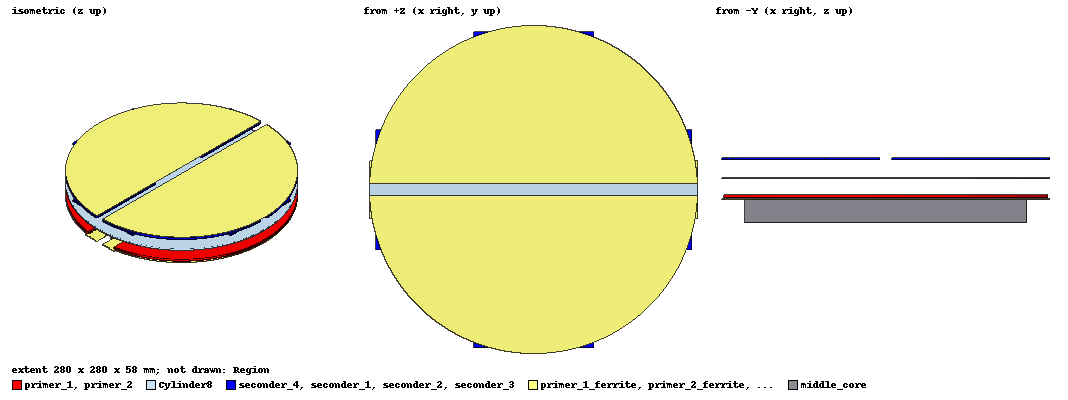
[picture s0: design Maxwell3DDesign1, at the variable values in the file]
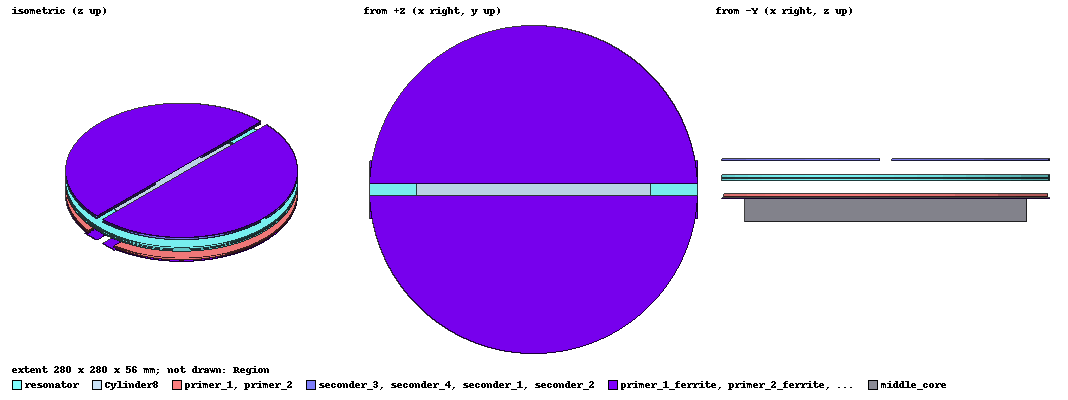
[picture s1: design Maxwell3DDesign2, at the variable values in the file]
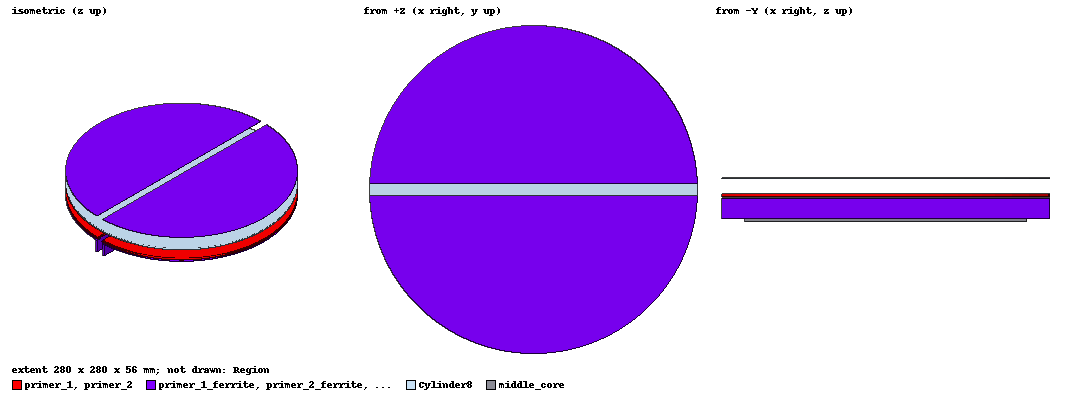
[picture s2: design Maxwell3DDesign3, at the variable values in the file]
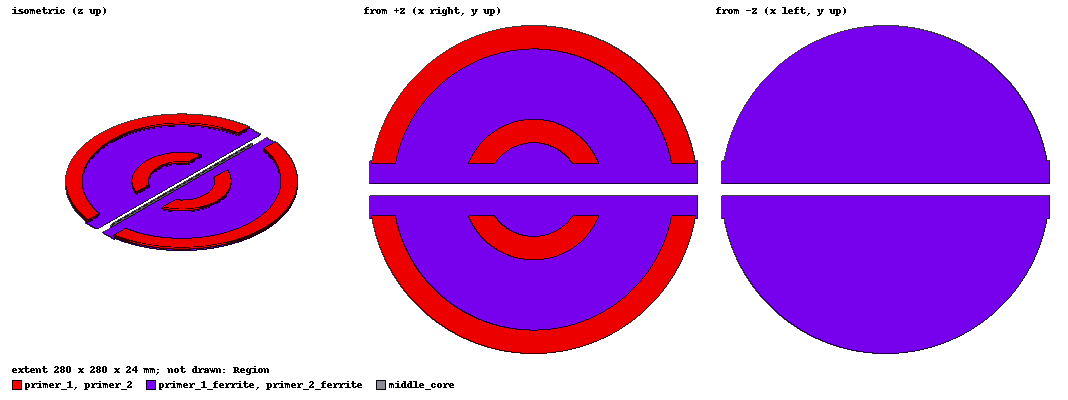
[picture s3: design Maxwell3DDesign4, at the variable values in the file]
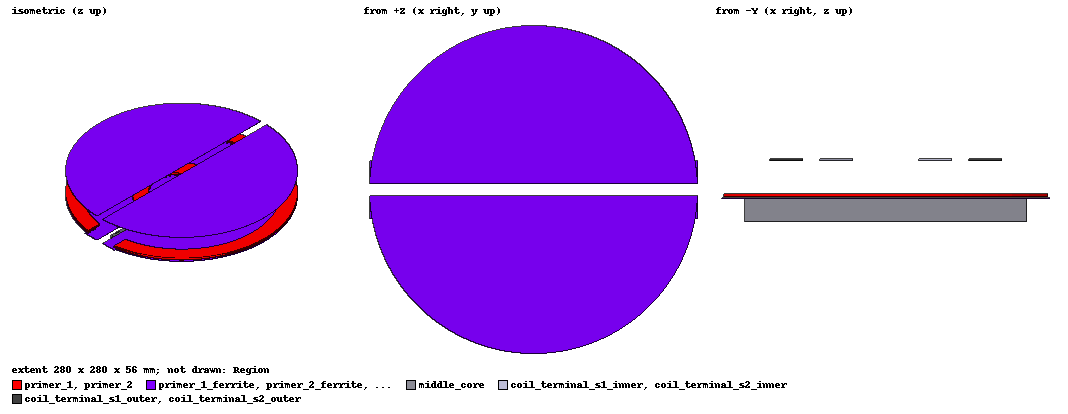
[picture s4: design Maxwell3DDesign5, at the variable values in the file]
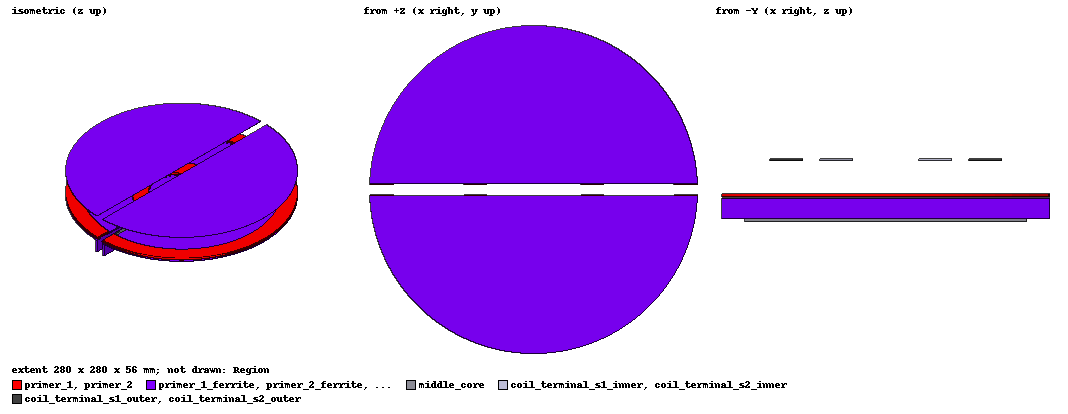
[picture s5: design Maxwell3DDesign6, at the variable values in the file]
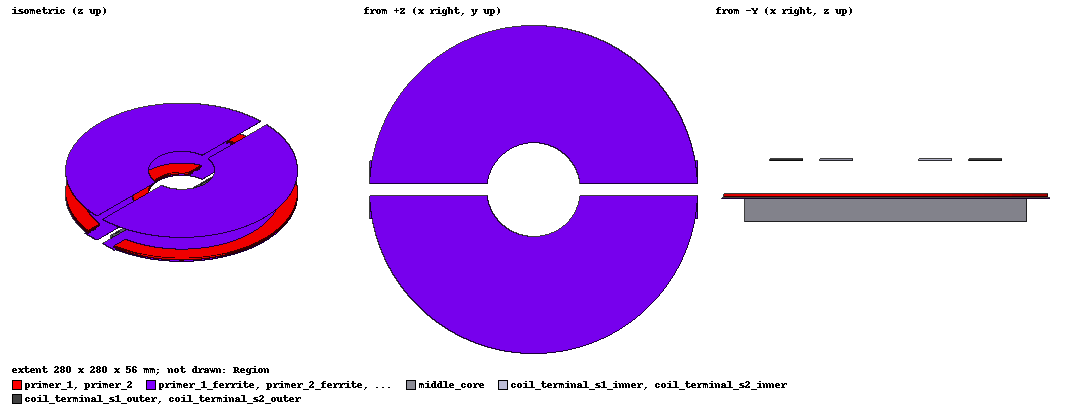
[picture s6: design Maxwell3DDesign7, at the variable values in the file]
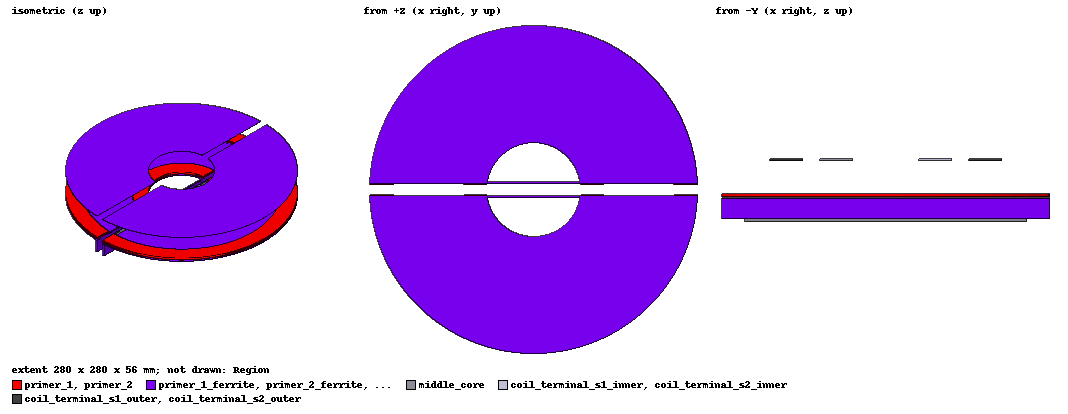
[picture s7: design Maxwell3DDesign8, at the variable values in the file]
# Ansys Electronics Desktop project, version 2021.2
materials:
  vacuum: permittivity=1
  ferrite: permittivity=12 permeability=1000 conductivity=0.01
  copper: permeability=0.999991 conductivity=58000000

design Maxwell3DDesign1 (Maxwell 3D, Magnetostatic, model units mm)
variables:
  ferrite_distance = distance_primer+3mm
  r_outer = 140mm
  ferrite_height = -0.5mm
  ferrite_gap = 2mm
  r_inner = 40mm
  conductor_height = 2mm
  conductor_number_primer = 10mm
  conductor_number_p = 13.2
  distance_primer = 2mm
  primer_box = 20mm
  fer2fer_distance = air_gap+5.5mm
  air_gap = 32mm
  conductor_number_s = 23
  distance_seconder = 5mm
  primer = 10A
  seconder_current = 5A
  primer_current = 10
  rotation_angle = 0deg
  slope_primer = 0deg
  a = 2^((primer_box/5mm )-1) mm
  ferrite_tail = 20mm
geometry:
  coordinate_system ferrite = origin=(0mm, -ferrite_distance, 0mm) x=(1mm, 0mm, 0mm) y=(0mm, 1mm, 0mm)
  primer_1_ferrite [ferrite] = cylinder(axis=Z, base_centre=(0mm, 0mm, 0mm), radius=r_outer, height=-ferrite_height)
  primer_1_ferrite.split(plane=ZX, keep=NegativeOnly)
  primer_1_ferrite.split(plane=ZX, keep=NegativeOnly) in ferrite
  coordinate_system primer = origin=(0mm, 0mm, ferrite_gap) x=(1mm, 0mm, 0mm) y=(0mm, 1mm, 0mm)
  Cylinder1 = cylinder(axis=Z, base_centre=(0mm, 0mm, 0mm), radius=r_inner, height=conductor_height) in primer
  Cylinder2 = cylinder(axis=Z, base_centre=(0mm, 0mm, 0mm), radius=r_inner+(conductor_height*conductor_number_p), height=conductor_height) in primer
  Cylinder3 = cylinder(axis=Z, base_centre=(0mm, 0mm, 0mm), radius=r_outer- (conductor_height*conductor_number_p), height=conductor_height) in primer
  primer_1 [copper] = cylinder(axis=Z, base_centre=(0mm, 0mm, 0mm), radius=r_outer, height=conductor_height) in primer
  primer_1.subtract(Cylinder3)
  Cylinder2.subtract(Cylinder1)
  [primer_1, Cylinder2].split(plane=ZX, keep=NegativeOnly) in primer
  coordinate_system primer_edge = origin=(0mm, -distance_primer, conductor_height) x=(1mm, 0mm, 0mm) y=(0mm, 1mm, 0mm) in primer
  [primer_1, Cylinder2].split(plane=ZX, keep=NegativeOnly) in primer_edge
  Box1 = box(corner=(-r_outer, 0mm, 0mm), size=(2*r_outer, -primer_box, -(conductor_height*conductor_height*conductor_number_p/primer_box))) in primer_edge
  primer_1.unite(Cylinder2, Box1)
  Box2 = box(corner=(-r_inner+a, 0mm, 0mm), size=(2*r_inner-(2*a), -primer_box, -(conductor_height*conductor_height*conductor_number_p/primer_box))) in primer_edge
  primer_1.subtract(Box2)
  coil_terminal_p1_outer [copper] = primer_1.section(plane=YZ)
  coil_terminal_p1_inner [copper] = coil_terminal_p1_outer.separate_bodies()
  primer_2 [copper] = primer_1.duplicate_mirror(point=(0mm, 0mm, 0mm), normal=(0mm, 1mm, 0mm))
  primer_2_ferrite [ferrite] = primer_1_ferrite.duplicate_mirror(point=(0mm, 0mm, 0mm), normal=(0mm, 1mm, 0mm))
  coil_terminal_p2_inner [copper] = coil_terminal_p1_inner.duplicate_mirror(point=(0mm, 0mm, 0mm), normal=(0mm, 1mm, 0mm))
  coil_terminal_p2_outer [copper] = coil_terminal_p1_outer.duplicate_mirror(point=(0mm, 0mm, 0mm), normal=(0mm, 1mm, 0mm))
  primer_2_ferrite_1 [ferrite] = primer_2_ferrite.duplicate_along_line(step=(0mm, 0mm, fer2fer_distance), total=2)
  primer_1_ferrite_1 [ferrite] = primer_1_ferrite.duplicate_along_line(step=(0mm, 0mm, fer2fer_distance), total=2)
  coordinate_system seconder = origin=(0mm, 0mm, air_gap) x=(1mm, 0mm, 0mm) y=(0mm, 1mm, 0mm) in primer
  Cylinder4 = cylinder(axis=Z, base_centre=(0mm, 0mm, 0mm), radius=r_inner, height=conductor_height) in seconder
  Cylinder5 = cylinder(axis=Z, base_centre=(0mm, 0mm, 0mm), radius=r_inner+(conductor_height*conductor_number_s), height=conductor_height) in seconder
  Cylinder6 = cylinder(axis=Z, base_centre=(0mm, 0mm, 0mm), radius=r_outer-(conductor_height*conductor_number_s), height=conductor_height) in seconder
  Cylinder7 = cylinder(axis=Z, base_centre=(0mm, 0mm, 0mm), radius=r_outer, height=conductor_height) in seconder
  Cylinder5.subtract(Cylinder4)
  Cylinder7.subtract(Cylinder6)
  [Cylinder7, Cylinder5].split(plane=YZ, keep=NegativeOnly) in seconder
  [Cylinder7, Cylinder5].split(plane=ZX, keep=NegativeOnly) in seconder
  coordinate_system seconder_edge = origin=(-distance_seconder, -distance_seconder, conductor_height) x=(1mm, 0mm, 0mm) y=(0mm, 1mm, 0mm) in seconder
  [Cylinder7, Cylinder5].split(plane=ZX, keep=NegativeOnly) in seconder_edge
  [Cylinder7, Cylinder5].split(plane=YZ, keep=NegativeOnly) in seconder_edge
  seconder_1 [copper] = box(corner=(-r_inner+distance_seconder, 0mm, 0mm), size=(-r_outer+r_inner+distance_seconder, -conductor_height*conductor_number_s, -conductor_height)) in seconder_edge
  Box4 = box(corner=(0mm, -r_inner+distance_seconder, 0mm), size=(-conductor_height*conductor_number_s, -r_outer+r_inner+distance_seconder, -conductor_height)) in seconder_edge
  seconder_1.unite(Cylinder7, Cylinder5, Box4)
  seconder_1.rotate(axis=Z, angle=45deg) in seconder_edge
  coil_terminal_s1_inner [copper] = seconder_1.section(plane=YZ) in seconder_edge
  coil_terminal_s1_outer [copper] = coil_terminal_s1_inner.separate_bodies()
  [seconder_1, coil_terminal_s1_inner, coil_terminal_s1_outer].rotate(axis=Z, angle=-45deg) in seconder_edge
  seconder_2, seconder_3, seconder_4 [copper] = seconder_1.duplicate_around_axis(axis=Z, angle=90deg, total=4)
  coil_terminal_s2_inner, coil_terminal_s3_inner, coil_terminal_s4_inner [copper] = coil_terminal_s1_inner.duplicate_around_axis(axis=Z, angle=90deg, total=4)
  coil_terminal_s2_outer, coil_terminal_s3_outer, coil_terminal_s4_outer [copper] = coil_terminal_s1_outer.duplicate_around_axis(axis=Z, angle=90deg, total=4)
  Region [vacuum] = region(transverse_percentage_offset=50 on all sides)
  [seconder_1..seconder_4, coil_terminal_s2_outer, coil_terminal_s3_outer, coil_terminal_s1_inner, coil_terminal_s1_outer, coil_terminal_s2_inner, coil_terminal_s3_inner, coil_terminal_s4_inner, coil_terminal_s4_outer].rotate(axis=Z, angle=rotation_angle)
  Box5 = box(corner=(-r_outer, 0mm, 0mm), size=(2*r_outer, -primer_box, conductor_height-ferrite_height-(conductor_height*conductor_height*conductor_number_p)/primer_box)) in ferrite
  Box5_1 = Box5.duplicate_mirror(point=(0mm, 0mm, 0mm), normal=(0mm, 1mm, 0mm))
  primer_1_ferrite.unite(Box5)
  primer_2_ferrite.unite(Box5_1)
  middle_core [ferrite] = box(corner=(-120mm, -0.4mm, 0mm), size=(240mm, 0.8mm, -20mm))
  [primer_1, coil_terminal_p1_outer, coil_terminal_p1_inner, primer_1_ferrite].rotate(axis=X, angle=slope_primer)
  [primer_2, primer_2_ferrite, coil_terminal_p2_inner, coil_terminal_p2_outer].rotate(axis=X, angle=-slope_primer)
  Cylinder8 [vacuum] = cylinder(axis=Z, base_centre=(0mm, 0mm, air_gap/2), radius=140mm, height=1mm) in primer
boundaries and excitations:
  Insulating1: Insulating Objects=[primer_1, primer_2, seconder_1..seconder_4]
  Current_1: Current Objects=coil_terminal_p1_outer Current=primer_current IsSolid=false Point_out_of_terminal=false
  Current_2: Current Objects=coil_terminal_p2_outer Current=primer_current IsSolid=false Point_out_of_terminal=true
  Current_3: Current Objects=coil_terminal_s2_outer Current=seconder_current IsSolid=false Point_out_of_terminal=true
  Current_4: Current Objects=coil_terminal_s3_outer Current=seconder_current IsSolid=false Point_out_of_terminal=true
  Current_5: Current Objects=coil_terminal_s4_outer Current=seconder_current IsSolid=false Point_out_of_terminal=true
  Current_6: Current Objects=coil_terminal_s1_outer Current=seconder_current IsSolid=false Point_out_of_terminal=true
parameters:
  inductance_matrix: Matrix Current_1, Current_2: NumberOfTurns=conductor_number_p; Current_3..Current_6: NumberOfTurns=conductor_number_s
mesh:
  initial mesh: GlobalCurvilinear{Apply}
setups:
  Setup1: Magnetostatic MaximumPasses=10 MinimumPasses=2 MinimumConvergedPasses=1 PercentRefinement=30 PercentError=1 NonLinearResidual=0.001
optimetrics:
  ParametricSetup1: Parametric Sim._Setups=[Setup1]
    sweep rotation_angle: LIN 0deg 90deg 10deg

design Maxwell3DDesign2 (Maxwell 3D, Magnetostatic, model units mm)
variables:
  ferrite_distance = distance_primer+3mm
  r_outer = 140mm
  ferrite_height = -0.5mm
  ferrite_gap = 2mm
  r_inner = 40mm
  conductor_height = 2mm
  conductor_number_primer = 10mm
  conductor_number_p = 16-6
  distance_primer = 2mm
  primer_box = 20mm
  fer2fer_distance = air_gap+5.5mm
  air_gap = 30mm
  conductor_number_s = 10
  distance_seconder = 5mm
  primer = 10A
  seconder_current = 5A
  primer_current = 10
  rotation_angle = 0deg
  slope_primer = 0deg
  a = 2^((primer_box/5mm )-1) mm
  ferrite_tail = 20mm
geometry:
  coordinate_system ferrite = origin=(0mm, -ferrite_distance, 0mm) x=(1mm, 0mm, 0mm) y=(0mm, 1mm, 0mm)
  primer_1_ferrite [ferrite] = cylinder(axis=Z, base_centre=(0mm, 0mm, 0mm), radius=r_outer, height=-ferrite_height)
  primer_1_ferrite.split(plane=ZX, keep=NegativeOnly)
  primer_1_ferrite.split(plane=ZX, keep=NegativeOnly) in ferrite
  coordinate_system primer = origin=(0mm, 0mm, ferrite_gap) x=(1mm, 0mm, 0mm) y=(0mm, 1mm, 0mm)
  Cylinder1 = cylinder(axis=Z, base_centre=(0mm, 0mm, 0mm), radius=r_inner, height=conductor_height) in primer
  Cylinder2 = cylinder(axis=Z, base_centre=(0mm, 0mm, 0mm), radius=r_inner+(conductor_height*conductor_number_p), height=conductor_height) in primer
  Cylinder3 = cylinder(axis=Z, base_centre=(0mm, 0mm, 0mm), radius=r_outer- (conductor_height*conductor_number_p), height=conductor_height) in primer
  primer_1 [copper] = cylinder(axis=Z, base_centre=(0mm, 0mm, 0mm), radius=r_outer, height=conductor_height) in primer
  primer_1.subtract(Cylinder3)
  Cylinder2.subtract(Cylinder1)
  [primer_1, Cylinder2].split(plane=ZX, keep=NegativeOnly) in primer
  coordinate_system primer_edge = origin=(0mm, -distance_primer, conductor_height) x=(1mm, 0mm, 0mm) y=(0mm, 1mm, 0mm) in primer
  [primer_1, Cylinder2].split(plane=ZX, keep=NegativeOnly) in primer_edge
  Box1 = box(corner=(-r_outer, 0mm, 0mm), size=(2*r_outer, -primer_box, -(conductor_height*conductor_height*conductor_number_p/primer_box))) in primer_edge
  primer_1.unite(Cylinder2, Box1)
  Box2 = box(corner=(-r_inner+a, 0mm, 0mm), size=(2*r_inner-(2*a), -primer_box, -(conductor_height*conductor_height*conductor_number_p/primer_box))) in primer_edge
  primer_1.subtract(Box2)
  coil_terminal_p1_outer [copper] = primer_1.section(plane=YZ)
  coil_terminal_p1_inner [copper] = coil_terminal_p1_outer.separate_bodies()
  primer_2 [copper] = primer_1.duplicate_mirror(point=(0mm, 0mm, 0mm), normal=(0mm, 1mm, 0mm))
  primer_2_ferrite [ferrite] = primer_1_ferrite.duplicate_mirror(point=(0mm, 0mm, 0mm), normal=(0mm, 1mm, 0mm))
  coil_terminal_p2_inner [copper] = coil_terminal_p1_inner.duplicate_mirror(point=(0mm, 0mm, 0mm), normal=(0mm, 1mm, 0mm))
  coil_terminal_p2_outer [copper] = coil_terminal_p1_outer.duplicate_mirror(point=(0mm, 0mm, 0mm), normal=(0mm, 1mm, 0mm))
  primer_2_ferrite_1 [ferrite] = primer_2_ferrite.duplicate_along_line(step=(0mm, 0mm, fer2fer_distance), total=2)
  primer_1_ferrite_1 [ferrite] = primer_1_ferrite.duplicate_along_line(step=(0mm, 0mm, fer2fer_distance), total=2)
  coordinate_system seconder = origin=(0mm, 0mm, air_gap) x=(1mm, 0mm, 0mm) y=(0mm, 1mm, 0mm) in primer
  Cylinder4 = cylinder(axis=Z, base_centre=(0mm, 0mm, 0mm), radius=r_inner, height=conductor_height) in seconder
  Cylinder5 = cylinder(axis=Z, base_centre=(0mm, 0mm, 0mm), radius=r_inner+(conductor_height*conductor_number_s), height=conductor_height) in seconder
  Cylinder6 = cylinder(axis=Z, base_centre=(0mm, 0mm, 0mm), radius=r_outer-(conductor_height*conductor_number_s), height=conductor_height) in seconder
  Cylinder7 = cylinder(axis=Z, base_centre=(0mm, 0mm, 0mm), radius=r_outer, height=conductor_height) in seconder
  Cylinder5.subtract(Cylinder4)
  Cylinder7.subtract(Cylinder6)
  [Cylinder7, Cylinder5].split(plane=YZ, keep=NegativeOnly) in seconder
  [Cylinder7, Cylinder5].split(plane=ZX, keep=NegativeOnly) in seconder
  coordinate_system seconder_edge = origin=(-distance_seconder, -distance_seconder, conductor_height) x=(1mm, 0mm, 0mm) y=(0mm, 1mm, 0mm) in seconder
  [Cylinder7, Cylinder5].split(plane=ZX, keep=NegativeOnly) in seconder_edge
  [Cylinder7, Cylinder5].split(plane=YZ, keep=NegativeOnly) in seconder_edge
  seconder_1 [copper] = box(corner=(-r_inner+distance_seconder, 0mm, 0mm), size=(-r_outer+r_inner+distance_seconder, -conductor_height*conductor_number_s, -conductor_height)) in seconder_edge
  Box4 = box(corner=(0mm, -r_inner+distance_seconder, 0mm), size=(-conductor_height*conductor_number_s, -r_outer+r_inner+distance_seconder, -conductor_height)) in seconder_edge
  seconder_1.unite(Cylinder7, Cylinder5, Box4)
  seconder_1.rotate(axis=Z, angle=45deg) in seconder_edge
  coil_terminal_s1_inner [copper] = seconder_1.section(plane=YZ) in seconder_edge
  coil_terminal_s1_outer [copper] = coil_terminal_s1_inner.separate_bodies()
  [seconder_1, coil_terminal_s1_inner, coil_terminal_s1_outer].rotate(axis=Z, angle=-45deg) in seconder_edge
  seconder_2, seconder_3, seconder_4 [copper] = seconder_1.duplicate_around_axis(axis=Z, angle=90deg, total=4)
  coil_terminal_s2_inner, coil_terminal_s3_inner, coil_terminal_s4_inner [copper] = coil_terminal_s1_inner.duplicate_around_axis(axis=Z, angle=90deg, total=4)
  coil_terminal_s2_outer, coil_terminal_s3_outer, coil_terminal_s4_outer [copper] = coil_terminal_s1_outer.duplicate_around_axis(axis=Z, angle=90deg, total=4)
  Region [vacuum] = region(transverse_percentage_offset=50 on all sides)
  [seconder_1..seconder_4, coil_terminal_s2_outer, coil_terminal_s3_outer, coil_terminal_s1_inner, coil_terminal_s1_outer, coil_terminal_s2_inner, coil_terminal_s3_inner, coil_terminal_s4_inner, coil_terminal_s4_outer].rotate(axis=Z, angle=rotation_angle)
  Box5 = box(corner=(-r_outer, 0mm, 0mm), size=(2*r_outer, -primer_box, conductor_height-ferrite_height-(conductor_height*conductor_height*conductor_number_p)/primer_box)) in ferrite
  Box5_1 = Box5.duplicate_mirror(point=(0mm, 0mm, 0mm), normal=(0mm, 1mm, 0mm))
  primer_1_ferrite.unite(Box5)
  primer_2_ferrite.unite(Box5_1)
  middle_core [ferrite] = box(corner=(-120mm, -0.4mm, 0mm), size=(240mm, 0.8mm, -20mm))
  [primer_1, coil_terminal_p1_outer, coil_terminal_p1_inner, primer_1_ferrite].rotate(axis=X, angle=slope_primer)
  [primer_2, primer_2_ferrite, coil_terminal_p2_inner, coil_terminal_p2_outer].rotate(axis=X, angle=-slope_primer)
  Cylinder8 [vacuum] = cylinder(axis=Z, base_centre=(0mm, 0mm, air_gap/2), radius=140mm, height=1mm) in primer
  coordinate_system RelativeCS1 = origin=(0mm, 0mm, 20mm) x=(1mm, 0mm, 0mm) y=(0mm, 1mm, 0mm)
  Cylinder9 = cylinder(axis=Z, base_centre=(0mm, 0mm, 0mm), radius=100mm, height=-5mm) in RelativeCS1
  resonator [copper] = cylinder(axis=Z, base_centre=(0mm, 0mm, 0mm), radius=140mm, height=-5mm) in RelativeCS1
  resonator.subtract(Cylinder9)
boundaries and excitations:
  Insulating1: Insulating Objects=[primer_1, primer_2, seconder_1..seconder_4]
  Current_1: Current Objects=coil_terminal_p1_outer Current=primer_current IsSolid=false Point_out_of_terminal=false
  Current_2: Current Objects=coil_terminal_p2_outer Current=primer_current IsSolid=false Point_out_of_terminal=true
  Current_3: Current Objects=coil_terminal_s2_outer Current=seconder_current IsSolid=false Point_out_of_terminal=true
  Current_4: Current Objects=coil_terminal_s3_outer Current=seconder_current IsSolid=false Point_out_of_terminal=true
  Current_5: Current Objects=coil_terminal_s4_outer Current=seconder_current IsSolid=false Point_out_of_terminal=true
  Current_6: Current Objects=coil_terminal_s1_outer Current=seconder_current IsSolid=false Point_out_of_terminal=true
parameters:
  inductance_matrix: Matrix Current_1, Current_2: NumberOfTurns=conductor_number_p; Current_3..Current_6: NumberOfTurns=conductor_number_s
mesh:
  initial mesh: GlobalCurvilinear{Apply}
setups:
  Setup1: Magnetostatic MaximumPasses=10 MinimumPasses=2 MinimumConvergedPasses=1 PercentRefinement=30 PercentError=1 NonLinearResidual=0.001
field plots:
  Mag_B1: B in Cylinder8 on Setup1 : LastAdaptive

design Maxwell3DDesign3 (Maxwell 3D, Magnetostatic, model units mm)
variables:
  ferrite_distance = distance_primer+3mm
  r_outer = 140mm
  ferrite_height = -0.5mm
  ferrite_gap = 2mm
  r_inner = 40mm
  conductor_height = 2mm
  conductor_number_primer = 10mm
  conductor_number_p = 16-6
  distance_primer = 2mm
  primer_box = 2mm
  fer2fer_distance = air_gap+5.5mm
  air_gap = 30mm
  conductor_number_s = 20
  distance_seconder = 5mm
  primer = 10A
  seconder_current = 5A
  primer_current = 10
  rotation_angle = 0deg
  slope_primer = 0deg
  a = 2^((primer_box/5mm )-1) mm
  ferrite_tail = 20mm
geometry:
  coordinate_system ferrite = origin=(0mm, -ferrite_distance, 0mm) x=(1mm, 0mm, 0mm) y=(0mm, 1mm, 0mm)
  primer_1_ferrite [ferrite] = cylinder(axis=Z, base_centre=(0mm, 0mm, 0mm), radius=r_outer, height=-ferrite_height)
  primer_1_ferrite.split(plane=ZX, keep=NegativeOnly)
  primer_1_ferrite.split(plane=ZX, keep=NegativeOnly) in ferrite
  coordinate_system primer = origin=(0mm, 0mm, ferrite_gap) x=(1mm, 0mm, 0mm) y=(0mm, 1mm, 0mm)
  Cylinder1 = cylinder(axis=Z, base_centre=(0mm, 0mm, 0mm), radius=r_inner, height=conductor_height) in primer
  Cylinder2 = cylinder(axis=Z, base_centre=(0mm, 0mm, 0mm), radius=r_inner+(conductor_height*conductor_number_p), height=conductor_height) in primer
  Cylinder3 = cylinder(axis=Z, base_centre=(0mm, 0mm, 0mm), radius=r_outer- (conductor_height*conductor_number_p), height=conductor_height) in primer
  primer_1 [copper] = cylinder(axis=Z, base_centre=(0mm, 0mm, 0mm), radius=r_outer, height=conductor_height) in primer
  primer_1.subtract(Cylinder3)
  Cylinder2.subtract(Cylinder1)
  [primer_1, Cylinder2].split(plane=ZX, keep=NegativeOnly) in primer
  coordinate_system primer_edge = origin=(0mm, -distance_primer, conductor_height) x=(1mm, 0mm, 0mm) y=(0mm, 1mm, 0mm) in primer
  [primer_1, Cylinder2].split(plane=ZX, keep=NegativeOnly) in primer_edge
  Box1 = box(corner=(-r_outer, 0mm, 0mm), size=(2*r_outer, -primer_box, -(conductor_height*conductor_height*conductor_number_p/primer_box))) in primer_edge
  primer_1.unite(Cylinder2, Box1)
  Box2 = box(corner=(-r_inner+a, 0mm, 0mm), size=(2*r_inner-(2*a), -primer_box, -(conductor_height*conductor_height*conductor_number_p/primer_box))) in primer_edge
  primer_1.subtract(Box2)
  coil_terminal_p1_outer [copper] = primer_1.section(plane=YZ)
  coil_terminal_p1_inner [copper] = coil_terminal_p1_outer.separate_bodies()
  primer_2 [copper] = primer_1.duplicate_mirror(point=(0mm, 0mm, 0mm), normal=(0mm, 1mm, 0mm))
  primer_2_ferrite [ferrite] = primer_1_ferrite.duplicate_mirror(point=(0mm, 0mm, 0mm), normal=(0mm, 1mm, 0mm))
  coil_terminal_p2_inner [copper] = coil_terminal_p1_inner.duplicate_mirror(point=(0mm, 0mm, 0mm), normal=(0mm, 1mm, 0mm))
  coil_terminal_p2_outer [copper] = coil_terminal_p1_outer.duplicate_mirror(point=(0mm, 0mm, 0mm), normal=(0mm, 1mm, 0mm))
  primer_2_ferrite_1 [ferrite] = primer_2_ferrite.duplicate_along_line(step=(0mm, 0mm, fer2fer_distance), total=2)
  primer_1_ferrite_1 [ferrite] = primer_1_ferrite.duplicate_along_line(step=(0mm, 0mm, fer2fer_distance), total=2)
  coordinate_system seconder = origin=(0mm, 0mm, air_gap) x=(1mm, 0mm, 0mm) y=(0mm, 1mm, 0mm) in primer
  coordinate_system seconder_edge = origin=(-distance_seconder, -distance_seconder, conductor_height) x=(1mm, 0mm, 0mm) y=(0mm, 1mm, 0mm) in seconder
  Region [vacuum] = region(transverse_percentage_offset=50 on all sides)
  Box5 = box(corner=(-r_outer, 0mm, 0mm), size=(2*r_outer, -primer_box, conductor_height-ferrite_height-(conductor_height*conductor_height*conductor_number_p)/primer_box)) in ferrite
  Box5_1 = Box5.duplicate_mirror(point=(0mm, 0mm, 0mm), normal=(0mm, 1mm, 0mm))
  primer_1_ferrite.unite(Box5)
  primer_2_ferrite.unite(Box5_1)
  middle_core [ferrite] = box(corner=(-120mm, -0.4mm, 0mm), size=(240mm, 0.8mm, -20mm))
  [primer_1, coil_terminal_p1_outer, coil_terminal_p1_inner, primer_1_ferrite].rotate(axis=X, angle=slope_primer)
  [primer_2, primer_2_ferrite, coil_terminal_p2_inner, coil_terminal_p2_outer].rotate(axis=X, angle=-slope_primer)
  Cylinder8 [vacuum] = cylinder(axis=Z, base_centre=(0mm, 0mm, air_gap/2), radius=140mm, height=1mm) in primer
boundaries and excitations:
  Insulating1: Insulating Objects=[primer_1, primer_2]
  Current_1: Current Objects=coil_terminal_p1_outer Current=primer_current IsSolid=false Point_out_of_terminal=false
  Current_2: Current Objects=coil_terminal_p2_outer Current=primer_current IsSolid=false Point_out_of_terminal=true
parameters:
  inductance_matrix: Matrix Current_1, Current_2: NumberOfTurns=conductor_number_p
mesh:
  initial mesh: GlobalCurvilinear{Apply}
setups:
  Setup1: Magnetostatic MaximumPasses=10 MinimumPasses=2 MinimumConvergedPasses=1 PercentRefinement=30 PercentError=1 NonLinearResidual=0.001
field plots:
  Mag_B1: B in Cylinder8 on Setup1 : LastAdaptive

design Maxwell3DDesign4 (Maxwell 3D, Magnetostatic, model units mm)
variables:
  ferrite_distance = distance_primer+3mm
  r_outer = 140mm
  ferrite_height = -0.5mm
  ferrite_gap = 2mm
  r_inner = 40mm
  conductor_height = 2mm
  conductor_number_primer = 10mm
  conductor_number_p = 16-6
  distance_primer = 2mm
  primer_box = 20mm
  fer2fer_distance = air_gap+5.5mm
  air_gap = 30mm
  conductor_number_s = 20
  distance_seconder = 5mm
  primer = 10A
  seconder_current = 5A
  primer_current = 10
  rotation_angle = 0deg
  slope_primer = 0deg
  a = 2^((primer_box/5mm )-1) mm
  ferrite_tail = 20mm
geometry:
  coordinate_system ferrite = origin=(0mm, -ferrite_distance, 0mm) x=(1mm, 0mm, 0mm) y=(0mm, 1mm, 0mm)
  primer_1_ferrite [ferrite] = cylinder(axis=Z, base_centre=(0mm, 0mm, 0mm), radius=r_outer, height=-ferrite_height)
  primer_1_ferrite.split(plane=ZX, keep=NegativeOnly)
  primer_1_ferrite.split(plane=ZX, keep=NegativeOnly) in ferrite
  coordinate_system primer = origin=(0mm, 0mm, ferrite_gap) x=(1mm, 0mm, 0mm) y=(0mm, 1mm, 0mm)
  Cylinder1 = cylinder(axis=Z, base_centre=(0mm, 0mm, 0mm), radius=r_inner, height=conductor_height) in primer
  Cylinder2 = cylinder(axis=Z, base_centre=(0mm, 0mm, 0mm), radius=r_inner+(conductor_height*conductor_number_p), height=conductor_height) in primer
  Cylinder3 = cylinder(axis=Z, base_centre=(0mm, 0mm, 0mm), radius=r_outer- (conductor_height*conductor_number_p), height=conductor_height) in primer
  primer_1 [copper] = cylinder(axis=Z, base_centre=(0mm, 0mm, 0mm), radius=r_outer, height=conductor_height) in primer
  primer_1.subtract(Cylinder3)
  Cylinder2.subtract(Cylinder1)
  [primer_1, Cylinder2].split(plane=ZX, keep=NegativeOnly) in primer
  coordinate_system primer_edge = origin=(0mm, -distance_primer, conductor_height) x=(1mm, 0mm, 0mm) y=(0mm, 1mm, 0mm) in primer
  [primer_1, Cylinder2].split(plane=ZX, keep=NegativeOnly) in primer_edge
  Box1 = box(corner=(-r_outer, 0mm, 0mm), size=(2*r_outer, -primer_box, -(conductor_height*conductor_height*conductor_number_p/primer_box))) in primer_edge
  primer_1.unite(Cylinder2, Box1)
  Box2 = box(corner=(-r_inner+a, 0mm, 0mm), size=(2*r_inner-(2*a), -primer_box, -(conductor_height*conductor_height*conductor_number_p/primer_box))) in primer_edge
  primer_1.subtract(Box2)
  coil_terminal_p1_outer [copper] = primer_1.section(plane=YZ)
  coil_terminal_p1_inner [copper] = coil_terminal_p1_outer.separate_bodies()
  primer_2 [copper] = primer_1.duplicate_mirror(point=(0mm, 0mm, 0mm), normal=(0mm, 1mm, 0mm))
  primer_2_ferrite [ferrite] = primer_1_ferrite.duplicate_mirror(point=(0mm, 0mm, 0mm), normal=(0mm, 1mm, 0mm))
  coil_terminal_p2_inner [copper] = coil_terminal_p1_inner.duplicate_mirror(point=(0mm, 0mm, 0mm), normal=(0mm, 1mm, 0mm))
  coil_terminal_p2_outer [copper] = coil_terminal_p1_outer.duplicate_mirror(point=(0mm, 0mm, 0mm), normal=(0mm, 1mm, 0mm))
  coordinate_system seconder = origin=(0mm, 0mm, air_gap) x=(1mm, 0mm, 0mm) y=(0mm, 1mm, 0mm) in primer
  coordinate_system seconder_edge = origin=(-distance_seconder, -distance_seconder, conductor_height) x=(1mm, 0mm, 0mm) y=(0mm, 1mm, 0mm) in seconder
  Region [vacuum] = region(transverse_percentage_offset=50 on all sides)
  Box5 = box(corner=(-r_outer, 0mm, 0mm), size=(2*r_outer, -primer_box, conductor_height-ferrite_height-(conductor_height*conductor_height*conductor_number_p)/primer_box)) in ferrite
  Box5_1 = Box5.duplicate_mirror(point=(0mm, 0mm, 0mm), normal=(0mm, 1mm, 0mm))
  primer_1_ferrite.unite(Box5)
  primer_2_ferrite.unite(Box5_1)
  middle_core [ferrite] = box(corner=(-120mm, -0.4mm, 0mm), size=(240mm, 0.8mm, -20mm))
  [primer_1, coil_terminal_p1_outer, coil_terminal_p1_inner, primer_1_ferrite].rotate(axis=X, angle=slope_primer)
  [primer_2, primer_2_ferrite, coil_terminal_p2_inner, coil_terminal_p2_outer].rotate(axis=X, angle=-slope_primer)
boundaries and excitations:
  Insulating1: Insulating Objects=[primer_1, primer_2]
  Current_1: Current Objects=coil_terminal_p1_outer Current=primer_current IsSolid=false Point_out_of_terminal=false
  Current_2: Current Objects=coil_terminal_p2_outer Current=primer_current IsSolid=false Point_out_of_terminal=true
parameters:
  inductance_matrix: Matrix Current_1, Current_2: NumberOfTurns=conductor_number_p
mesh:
  Length1: LengthBased Objects=[primer_1_ferrite, primer_1, coil_terminal_p1_outer, coil_terminal_p1_inner, primer_2, primer_2_ferrite, coil_terminal_p2_inner, coil_terminal_p2_outer, middle_core] MaxLength=20mm
  initial mesh: GlobalCurvilinear{Apply}
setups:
  Setup1: Magnetostatic MaximumPasses=10 MinimumPasses=2 MinimumConvergedPasses=1 PercentRefinement=30 PercentError=1 NonLinearResidual=0.001

design Maxwell3DDesign5 (Maxwell 3D, Magnetostatic, model units mm)
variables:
  ferrite_distance = distance_primer+3mm
  r_outer = 140mm
  ferrite_height = -0.5mm
  ferrite_gap = 2mm
  r_inner = 40mm
  conductor_height = 2mm
  conductor_number_primer = 10mm
  conductor_number_p = 16-6
  distance_primer = 2mm
  primer_box = 20mm
  fer2fer_distance = air_gap+5.5mm
  air_gap = 30mm
  conductor_number_s = 20
  distance_seconder = 5mm
  primer = 10A
  seconder_current = 5A
  primer_current = 10
  rotation_angle = 0deg
  slope_primer = 0deg
  a = 2^((primer_box/5mm )-1) mm
  ferrite_tail = 20mm
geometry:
  coordinate_system ferrite = origin=(0mm, -ferrite_distance, 0mm) x=(1mm, 0mm, 0mm) y=(0mm, 1mm, 0mm)
  primer_1_ferrite [ferrite] = cylinder(axis=Z, base_centre=(0mm, 0mm, 0mm), radius=r_outer, height=-ferrite_height)
  primer_1_ferrite.split(plane=ZX, keep=NegativeOnly)
  primer_1_ferrite.split(plane=ZX, keep=NegativeOnly) in ferrite
  coordinate_system primer = origin=(0mm, 0mm, ferrite_gap) x=(1mm, 0mm, 0mm) y=(0mm, 1mm, 0mm)
  Cylinder1 = cylinder(axis=Z, base_centre=(0mm, 0mm, 0mm), radius=r_inner, height=conductor_height) in primer
  Cylinder2 = cylinder(axis=Z, base_centre=(0mm, 0mm, 0mm), radius=r_inner+(conductor_height*conductor_number_p), height=conductor_height) in primer
  Cylinder3 = cylinder(axis=Z, base_centre=(0mm, 0mm, 0mm), radius=r_outer- (conductor_height*conductor_number_p), height=conductor_height) in primer
  primer_1 [copper] = cylinder(axis=Z, base_centre=(0mm, 0mm, 0mm), radius=r_outer, height=conductor_height) in primer
  primer_1.subtract(Cylinder3)
  Cylinder2.subtract(Cylinder1)
  [primer_1, Cylinder2].split(plane=ZX, keep=NegativeOnly) in primer
  coordinate_system primer_edge = origin=(0mm, -distance_primer, conductor_height) x=(1mm, 0mm, 0mm) y=(0mm, 1mm, 0mm) in primer
  [primer_1, Cylinder2].split(plane=ZX, keep=NegativeOnly) in primer_edge
  Box1 = box(corner=(-r_outer, 0mm, 0mm), size=(2*r_outer, -primer_box, -(conductor_height*conductor_height*conductor_number_p/primer_box))) in primer_edge
  primer_1.unite(Cylinder2, Box1)
  Box2 = box(corner=(-r_inner+a, 0mm, 0mm), size=(2*r_inner-(2*a), -primer_box, -(conductor_height*conductor_height*conductor_number_p/primer_box))) in primer_edge
  primer_1.subtract(Box2)
  coil_terminal_p1_outer [copper] = primer_1.section(plane=YZ)
  coil_terminal_p1_inner [copper] = coil_terminal_p1_outer.separate_bodies()
  primer_2 [copper] = primer_1.duplicate_mirror(point=(0mm, 0mm, 0mm), normal=(0mm, 1mm, 0mm))
  primer_2_ferrite [ferrite] = primer_1_ferrite.duplicate_mirror(point=(0mm, 0mm, 0mm), normal=(0mm, 1mm, 0mm))
  coil_terminal_p2_inner [copper] = coil_terminal_p1_inner.duplicate_mirror(point=(0mm, 0mm, 0mm), normal=(0mm, 1mm, 0mm))
  coil_terminal_p2_outer [copper] = coil_terminal_p1_outer.duplicate_mirror(point=(0mm, 0mm, 0mm), normal=(0mm, 1mm, 0mm))
  primer_2_ferrite_1 [ferrite] = primer_2_ferrite.duplicate_along_line(step=(0mm, 0mm, fer2fer_distance), total=2)
  primer_1_ferrite_1 [ferrite] = primer_1_ferrite.duplicate_along_line(step=(0mm, 0mm, fer2fer_distance), total=2)
  coordinate_system seconder = origin=(0mm, 0mm, air_gap) x=(1mm, 0mm, 0mm) y=(0mm, 1mm, 0mm) in primer
  Cylinder4 = cylinder(axis=Z, base_centre=(0mm, 0mm, 0mm), radius=r_inner, height=conductor_height) in seconder
  Cylinder5 = cylinder(axis=Z, base_centre=(0mm, 0mm, 0mm), radius=r_inner+(conductor_height*conductor_number_s), height=conductor_height) in seconder
  Cylinder6 = cylinder(axis=Z, base_centre=(0mm, 0mm, 0mm), radius=r_outer-(conductor_height*conductor_number_s), height=conductor_height) in seconder
  Cylinder7 = cylinder(axis=Z, base_centre=(0mm, 0mm, 0mm), radius=r_outer, height=conductor_height) in seconder
  Cylinder5.subtract(Cylinder4)
  Cylinder7.subtract(Cylinder6)
  [Cylinder7, Cylinder5].split(plane=YZ, keep=NegativeOnly) in seconder
  [Cylinder7, Cylinder5].split(plane=ZX, keep=NegativeOnly) in seconder
  coordinate_system seconder_edge = origin=(-distance_seconder, -distance_seconder, conductor_height) x=(1mm, 0mm, 0mm) y=(0mm, 1mm, 0mm) in seconder
  [Cylinder7, Cylinder5].split(plane=ZX, keep=NegativeOnly) in seconder_edge
  [Cylinder7, Cylinder5].split(plane=YZ, keep=NegativeOnly) in seconder_edge
  seconder_1 = box(corner=(-r_inner+distance_seconder, 0mm, 0mm), size=(-r_outer+r_inner+distance_seconder, -conductor_height*conductor_number_s, -conductor_height)) in seconder_edge
  Box4 = box(corner=(0mm, -r_inner+distance_seconder, 0mm), size=(-conductor_height*conductor_number_s, -r_outer+r_inner+distance_seconder, -conductor_height)) in seconder_edge
  seconder_1.unite(Cylinder7, Cylinder5, Box4)
  seconder_1.rotate(axis=Z, angle=45deg) in seconder_edge
  coil_terminal_s1_inner [copper] = seconder_1.section(plane=YZ) in seconder_edge
  coil_terminal_s1_outer [copper] = coil_terminal_s1_inner.separate_bodies()
  [seconder_1, coil_terminal_s1_inner, coil_terminal_s1_outer].rotate(axis=Z, angle=-45deg) in seconder_edge
  coil_terminal_s2_inner, coil_terminal_s3_inner, coil_terminal_s4_inner [copper] = coil_terminal_s1_inner.duplicate_around_axis(axis=Z, angle=90deg, total=4)
  coil_terminal_s2_outer, coil_terminal_s3_outer, coil_terminal_s4_outer [copper] = coil_terminal_s1_outer.duplicate_around_axis(axis=Z, angle=90deg, total=4)
  Region [vacuum] = region(transverse_percentage_offset=50 on all sides)
  seconder_1.rotate(axis=Z, angle=rotation_angle)
  seconder_1.delete()
  [coil_terminal_s2_outer, coil_terminal_s3_outer, coil_terminal_s1_inner, coil_terminal_s1_outer, coil_terminal_s2_inner, coil_terminal_s3_inner, coil_terminal_s4_inner, coil_terminal_s4_outer].rotate(axis=Z, angle=rotation_angle)
  Box5 = box(corner=(-r_outer, 0mm, 0mm), size=(2*r_outer, -primer_box, conductor_height-ferrite_height-(conductor_height*conductor_height*conductor_number_p)/primer_box)) in ferrite
  Box5_1 = Box5.duplicate_mirror(point=(0mm, 0mm, 0mm), normal=(0mm, 1mm, 0mm))
  primer_1_ferrite.unite(Box5)
  primer_2_ferrite.unite(Box5_1)
  middle_core [ferrite] = box(corner=(-120mm, -0.4mm, 0mm), size=(240mm, 0.8mm, -20mm))
  [primer_1, coil_terminal_p1_outer, coil_terminal_p1_inner, primer_1_ferrite].rotate(axis=X, angle=slope_primer)
  [primer_2, primer_2_ferrite, coil_terminal_p2_inner, coil_terminal_p2_outer].rotate(axis=X, angle=-slope_primer)
  Circle1 [non-model] = circle(normal=Z, centre=(0mm, 0mm, 16mm), radius=140mm) in primer
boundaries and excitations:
  Insulating1: Insulating Objects=[primer_1, primer_2]
  Current_1: Current Objects=coil_terminal_p1_outer Current=primer_current IsSolid=false Point_out_of_terminal=false
  Current_2: Current Objects=coil_terminal_p2_outer Current=primer_current IsSolid=false Point_out_of_terminal=true
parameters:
  inductance_matrix: Matrix Current_1, Current_2: NumberOfTurns=conductor_number_p
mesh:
  Length1: LengthBased Objects=[primer_1_ferrite, primer_1, coil_terminal_p1_outer, coil_terminal_p1_inner, primer_2, primer_2_ferrite, coil_terminal_p2_inner, coil_terminal_p2_outer, primer_2_ferrite_1, primer_1_ferrite_1, coil_terminal_s1_inner, coil_terminal_s1_outer, coil_terminal_s2_inner, coil_terminal_s3_inner, coil_terminal_s4_inner, coil_terminal_s2_outer, coil_terminal_s3_outer, coil_terminal_s4_outer, middle_core, Circle1] MaxLength=5mm
  initial mesh: GlobalCurvilinear{Apply}
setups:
  Setup1: Magnetostatic MaximumPasses=10 MinimumPasses=2 MinimumConvergedPasses=1 PercentRefinement=30 PercentError=1 NonLinearResidual=0.001
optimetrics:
  ParametricSetup1: Parametric Sim._Setups=[Setup1]
    sweep rotation_angle: LIN 0deg 90deg 10deg
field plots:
  Mag_B1: B over a plane on Setup1 : LastAdaptive

design Maxwell3DDesign6 (Maxwell 3D, Magnetostatic, model units mm)
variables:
  ferrite_distance = distance_primer+3mm
  r_outer = 140mm
  ferrite_height = -0.5mm
  ferrite_gap = 2mm
  r_inner = 40mm
  conductor_height = 2mm
  conductor_number_primer = 10mm
  conductor_number_p = 16-6
  distance_primer = 2mm
  primer_box = 2mm
  fer2fer_distance = air_gap+5.5mm
  air_gap = 30mm
  conductor_number_s = 20
  distance_seconder = 5mm
  primer = 10A
  seconder_current = 5A
  primer_current = 10
  rotation_angle = 0deg
  slope_primer = 0deg
  a = 2^((primer_box/5mm )-1) mm
  ferrite_tail = 20mm
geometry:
  coordinate_system ferrite = origin=(0mm, -ferrite_distance, 0mm) x=(1mm, 0mm, 0mm) y=(0mm, 1mm, 0mm)
  primer_1_ferrite [ferrite] = cylinder(axis=Z, base_centre=(0mm, 0mm, 0mm), radius=r_outer, height=-ferrite_height)
  primer_1_ferrite.split(plane=ZX, keep=NegativeOnly)
  primer_1_ferrite.split(plane=ZX, keep=NegativeOnly) in ferrite
  coordinate_system primer = origin=(0mm, 0mm, ferrite_gap) x=(1mm, 0mm, 0mm) y=(0mm, 1mm, 0mm)
  Cylinder1 = cylinder(axis=Z, base_centre=(0mm, 0mm, 0mm), radius=r_inner, height=conductor_height) in primer
  Cylinder2 = cylinder(axis=Z, base_centre=(0mm, 0mm, 0mm), radius=r_inner+(conductor_height*conductor_number_p), height=conductor_height) in primer
  Cylinder3 = cylinder(axis=Z, base_centre=(0mm, 0mm, 0mm), radius=r_outer- (conductor_height*conductor_number_p), height=conductor_height) in primer
  primer_1 [copper] = cylinder(axis=Z, base_centre=(0mm, 0mm, 0mm), radius=r_outer, height=conductor_height) in primer
  primer_1.subtract(Cylinder3)
  Cylinder2.subtract(Cylinder1)
  [primer_1, Cylinder2].split(plane=ZX, keep=NegativeOnly) in primer
  coordinate_system primer_edge = origin=(0mm, -distance_primer, conductor_height) x=(1mm, 0mm, 0mm) y=(0mm, 1mm, 0mm) in primer
  [primer_1, Cylinder2].split(plane=ZX, keep=NegativeOnly) in primer_edge
  Box1 = box(corner=(-r_outer, 0mm, 0mm), size=(2*r_outer, -primer_box, -(conductor_height*conductor_height*conductor_number_p/primer_box))) in primer_edge
  primer_1.unite(Cylinder2, Box1)
  Box2 = box(corner=(-r_inner+a, 0mm, 0mm), size=(2*r_inner-(2*a), -primer_box, -(conductor_height*conductor_height*conductor_number_p/primer_box))) in primer_edge
  primer_1.subtract(Box2)
  coil_terminal_p1_outer [copper] = primer_1.section(plane=YZ)
  coil_terminal_p1_inner [copper] = coil_terminal_p1_outer.separate_bodies()
  primer_2 [copper] = primer_1.duplicate_mirror(point=(0mm, 0mm, 0mm), normal=(0mm, 1mm, 0mm))
  primer_2_ferrite [ferrite] = primer_1_ferrite.duplicate_mirror(point=(0mm, 0mm, 0mm), normal=(0mm, 1mm, 0mm))
  coil_terminal_p2_inner [copper] = coil_terminal_p1_inner.duplicate_mirror(point=(0mm, 0mm, 0mm), normal=(0mm, 1mm, 0mm))
  coil_terminal_p2_outer [copper] = coil_terminal_p1_outer.duplicate_mirror(point=(0mm, 0mm, 0mm), normal=(0mm, 1mm, 0mm))
  primer_2_ferrite_1 [ferrite] = primer_2_ferrite.duplicate_along_line(step=(0mm, 0mm, fer2fer_distance), total=2)
  primer_1_ferrite_1 [ferrite] = primer_1_ferrite.duplicate_along_line(step=(0mm, 0mm, fer2fer_distance), total=2)
  coordinate_system seconder = origin=(0mm, 0mm, air_gap) x=(1mm, 0mm, 0mm) y=(0mm, 1mm, 0mm) in primer
  Cylinder4 = cylinder(axis=Z, base_centre=(0mm, 0mm, 0mm), radius=r_inner, height=conductor_height) in seconder
  Cylinder5 = cylinder(axis=Z, base_centre=(0mm, 0mm, 0mm), radius=r_inner+(conductor_height*conductor_number_s), height=conductor_height) in seconder
  Cylinder6 = cylinder(axis=Z, base_centre=(0mm, 0mm, 0mm), radius=r_outer-(conductor_height*conductor_number_s), height=conductor_height) in seconder
  Cylinder7 = cylinder(axis=Z, base_centre=(0mm, 0mm, 0mm), radius=r_outer, height=conductor_height) in seconder
  Cylinder5.subtract(Cylinder4)
  Cylinder7.subtract(Cylinder6)
  [Cylinder7, Cylinder5].split(plane=YZ, keep=NegativeOnly) in seconder
  [Cylinder7, Cylinder5].split(plane=ZX, keep=NegativeOnly) in seconder
  coordinate_system seconder_edge = origin=(-distance_seconder, -distance_seconder, conductor_height) x=(1mm, 0mm, 0mm) y=(0mm, 1mm, 0mm) in seconder
  [Cylinder7, Cylinder5].split(plane=ZX, keep=NegativeOnly) in seconder_edge
  [Cylinder7, Cylinder5].split(plane=YZ, keep=NegativeOnly) in seconder_edge
  seconder_1 = box(corner=(-r_inner+distance_seconder, 0mm, 0mm), size=(-r_outer+r_inner+distance_seconder, -conductor_height*conductor_number_s, -conductor_height)) in seconder_edge
  Box4 = box(corner=(0mm, -r_inner+distance_seconder, 0mm), size=(-conductor_height*conductor_number_s, -r_outer+r_inner+distance_seconder, -conductor_height)) in seconder_edge
  seconder_1.unite(Cylinder7, Cylinder5, Box4)
  seconder_1.rotate(axis=Z, angle=45deg) in seconder_edge
  coil_terminal_s1_inner [copper] = seconder_1.section(plane=YZ) in seconder_edge
  coil_terminal_s1_outer [copper] = coil_terminal_s1_inner.separate_bodies()
  [seconder_1, coil_terminal_s1_inner, coil_terminal_s1_outer].rotate(axis=Z, angle=-45deg) in seconder_edge
  coil_terminal_s2_inner, coil_terminal_s3_inner, coil_terminal_s4_inner [copper] = coil_terminal_s1_inner.duplicate_around_axis(axis=Z, angle=90deg, total=4)
  coil_terminal_s2_outer, coil_terminal_s3_outer, coil_terminal_s4_outer [copper] = coil_terminal_s1_outer.duplicate_around_axis(axis=Z, angle=90deg, total=4)
  Region [vacuum] = region(transverse_percentage_offset=50 on all sides)
  seconder_1.rotate(axis=Z, angle=rotation_angle)
  seconder_1.delete()
  [coil_terminal_s2_outer, coil_terminal_s3_outer, coil_terminal_s1_inner, coil_terminal_s1_outer, coil_terminal_s2_inner, coil_terminal_s3_inner, coil_terminal_s4_inner, coil_terminal_s4_outer].rotate(axis=Z, angle=rotation_angle)
  Box5 = box(corner=(-r_outer, 0mm, 0mm), size=(2*r_outer, -primer_box, conductor_height-ferrite_height-(conductor_height*conductor_height*conductor_number_p)/primer_box)) in ferrite
  Box5_1 = Box5.duplicate_mirror(point=(0mm, 0mm, 0mm), normal=(0mm, 1mm, 0mm))
  primer_1_ferrite.unite(Box5)
  primer_2_ferrite.unite(Box5_1)
  middle_core [ferrite] = box(corner=(-120mm, -0.4mm, 0mm), size=(240mm, 0.8mm, -20mm))
  [primer_1, coil_terminal_p1_outer, coil_terminal_p1_inner, primer_1_ferrite].rotate(axis=X, angle=slope_primer)
  [primer_2, primer_2_ferrite, coil_terminal_p2_inner, coil_terminal_p2_outer].rotate(axis=X, angle=-slope_primer)
  Circle1 [non-model] = circle(normal=Z, centre=(0mm, 0mm, 16mm), radius=140mm) in primer
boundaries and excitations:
  Insulating1: Insulating Objects=[primer_1, primer_2]
  Current_1: Current Objects=coil_terminal_p1_outer Current=primer_current IsSolid=false Point_out_of_terminal=false
  Current_2: Current Objects=coil_terminal_p2_outer Current=primer_current IsSolid=false Point_out_of_terminal=true
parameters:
  inductance_matrix: Matrix Current_1, Current_2: NumberOfTurns=conductor_number_p
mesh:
  Length1: LengthBased Objects=[primer_1_ferrite, primer_1, coil_terminal_p1_outer, coil_terminal_p1_inner, primer_2, primer_2_ferrite, coil_terminal_p2_inner, coil_terminal_p2_outer, primer_2_ferrite_1, primer_1_ferrite_1, coil_terminal_s1_inner, coil_terminal_s1_outer, coil_terminal_s2_inner, coil_terminal_s3_inner, coil_terminal_s4_inner, coil_terminal_s2_outer, coil_terminal_s3_outer, coil_terminal_s4_outer, middle_core] MaxLength=5mm
  initial mesh: GlobalCurvilinear{Apply}
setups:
  Setup1: Magnetostatic MaximumPasses=10 MinimumPasses=2 MinimumConvergedPasses=1 PercentRefinement=30 PercentError=1 NonLinearResidual=0.001
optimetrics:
  ParametricSetup1: Parametric Sim._Setups=[Setup1]
    sweep rotation_angle: LIN 0deg 90deg 10deg
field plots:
  Mag_B1, Mag_B2: B over a plane on Setup1 : LastAdaptive

design Maxwell3DDesign7 (Maxwell 3D, Magnetostatic, model units mm)
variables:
  ferrite_distance = distance_primer+3mm
  r_outer = 140mm
  ferrite_height = -0.5mm
  ferrite_gap = 2mm
  r_inner = 40mm
  conductor_height = 2mm
  conductor_number_primer = 10mm
  conductor_number_p = 16-6
  distance_primer = 2mm
  primer_box = 20mm
  fer2fer_distance = air_gap+5.5mm
  air_gap = 30mm
  conductor_number_s = 20
  distance_seconder = 5mm
  primer = 10A
  seconder_current = 5A
  primer_current = 10
  rotation_angle = 0deg
  slope_primer = 0deg
  a = 2^((primer_box/5mm )-1) mm
  ferrite_tail = 20mm
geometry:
  coordinate_system ferrite = origin=(0mm, -ferrite_distance, 0mm) x=(1mm, 0mm, 0mm) y=(0mm, 1mm, 0mm)
  primer_1_ferrite [ferrite] = cylinder(axis=Z, base_centre=(0mm, 0mm, 0mm), radius=r_outer, height=-ferrite_height)
  primer_1_ferrite.split(plane=ZX, keep=NegativeOnly)
  primer_1_ferrite.split(plane=ZX, keep=NegativeOnly) in ferrite
  coordinate_system primer = origin=(0mm, 0mm, ferrite_gap) x=(1mm, 0mm, 0mm) y=(0mm, 1mm, 0mm)
  Cylinder1 = cylinder(axis=Z, base_centre=(0mm, 0mm, 0mm), radius=r_inner, height=conductor_height) in primer
  Cylinder2 = cylinder(axis=Z, base_centre=(0mm, 0mm, 0mm), radius=r_inner+(conductor_height*conductor_number_p), height=conductor_height) in primer
  Cylinder3 = cylinder(axis=Z, base_centre=(0mm, 0mm, 0mm), radius=r_outer- (conductor_height*conductor_number_p), height=conductor_height) in primer
  primer_1 [copper] = cylinder(axis=Z, base_centre=(0mm, 0mm, 0mm), radius=r_outer, height=conductor_height) in primer
  primer_1.subtract(Cylinder3)
  Cylinder2.subtract(Cylinder1)
  [primer_1, Cylinder2].split(plane=ZX, keep=NegativeOnly) in primer
  coordinate_system primer_edge = origin=(0mm, -distance_primer, conductor_height) x=(1mm, 0mm, 0mm) y=(0mm, 1mm, 0mm) in primer
  [primer_1, Cylinder2].split(plane=ZX, keep=NegativeOnly) in primer_edge
  Box1 = box(corner=(-r_outer, 0mm, 0mm), size=(2*r_outer, -primer_box, -(conductor_height*conductor_height*conductor_number_p/primer_box))) in primer_edge
  primer_1.unite(Cylinder2, Box1)
  Box2 = box(corner=(-r_inner+a, 0mm, 0mm), size=(2*r_inner-(2*a), -primer_box, -(conductor_height*conductor_height*conductor_number_p/primer_box))) in primer_edge
  primer_1.subtract(Box2)
  coil_terminal_p1_outer [copper] = primer_1.section(plane=YZ)
  coil_terminal_p1_inner [copper] = coil_terminal_p1_outer.separate_bodies()
  primer_2 [copper] = primer_1.duplicate_mirror(point=(0mm, 0mm, 0mm), normal=(0mm, 1mm, 0mm))
  primer_2_ferrite [ferrite] = primer_1_ferrite.duplicate_mirror(point=(0mm, 0mm, 0mm), normal=(0mm, 1mm, 0mm))
  coil_terminal_p2_inner [copper] = coil_terminal_p1_inner.duplicate_mirror(point=(0mm, 0mm, 0mm), normal=(0mm, 1mm, 0mm))
  coil_terminal_p2_outer [copper] = coil_terminal_p1_outer.duplicate_mirror(point=(0mm, 0mm, 0mm), normal=(0mm, 1mm, 0mm))
  primer_2_ferrite_1 [ferrite] = primer_2_ferrite.duplicate_along_line(step=(0mm, 0mm, fer2fer_distance), total=2)
  primer_1_ferrite_1 [ferrite] = primer_1_ferrite.duplicate_along_line(step=(0mm, 0mm, fer2fer_distance), total=2)
  coordinate_system seconder = origin=(0mm, 0mm, air_gap) x=(1mm, 0mm, 0mm) y=(0mm, 1mm, 0mm) in primer
  Cylinder4 = cylinder(axis=Z, base_centre=(0mm, 0mm, 0mm), radius=r_inner, height=conductor_height) in seconder
  Cylinder5 = cylinder(axis=Z, base_centre=(0mm, 0mm, 0mm), radius=r_inner+(conductor_height*conductor_number_s), height=conductor_height) in seconder
  Cylinder6 = cylinder(axis=Z, base_centre=(0mm, 0mm, 0mm), radius=r_outer-(conductor_height*conductor_number_s), height=conductor_height) in seconder
  Cylinder7 = cylinder(axis=Z, base_centre=(0mm, 0mm, 0mm), radius=r_outer, height=conductor_height) in seconder
  Cylinder5.subtract(Cylinder4)
  Cylinder7.subtract(Cylinder6)
  [Cylinder7, Cylinder5].split(plane=YZ, keep=NegativeOnly) in seconder
  [Cylinder7, Cylinder5].split(plane=ZX, keep=NegativeOnly) in seconder
  coordinate_system seconder_edge = origin=(-distance_seconder, -distance_seconder, conductor_height) x=(1mm, 0mm, 0mm) y=(0mm, 1mm, 0mm) in seconder
  [Cylinder7, Cylinder5].split(plane=ZX, keep=NegativeOnly) in seconder_edge
  [Cylinder7, Cylinder5].split(plane=YZ, keep=NegativeOnly) in seconder_edge
  seconder_1 = box(corner=(-r_inner+distance_seconder, 0mm, 0mm), size=(-r_outer+r_inner+distance_seconder, -conductor_height*conductor_number_s, -conductor_height)) in seconder_edge
  Box4 = box(corner=(0mm, -r_inner+distance_seconder, 0mm), size=(-conductor_height*conductor_number_s, -r_outer+r_inner+distance_seconder, -conductor_height)) in seconder_edge
  seconder_1.unite(Cylinder7, Cylinder5, Box4)
  seconder_1.rotate(axis=Z, angle=45deg) in seconder_edge
  coil_terminal_s1_inner [copper] = seconder_1.section(plane=YZ) in seconder_edge
  coil_terminal_s1_outer [copper] = coil_terminal_s1_inner.separate_bodies()
  [seconder_1, coil_terminal_s1_inner, coil_terminal_s1_outer].rotate(axis=Z, angle=-45deg) in seconder_edge
  coil_terminal_s2_inner, coil_terminal_s3_inner, coil_terminal_s4_inner [copper] = coil_terminal_s1_inner.duplicate_around_axis(axis=Z, angle=90deg, total=4)
  coil_terminal_s2_outer, coil_terminal_s3_outer, coil_terminal_s4_outer [copper] = coil_terminal_s1_outer.duplicate_around_axis(axis=Z, angle=90deg, total=4)
  Region [vacuum] = region(transverse_percentage_offset=50 on all sides)
  seconder_1.rotate(axis=Z, angle=rotation_angle)
  seconder_1.delete()
  [coil_terminal_s2_outer, coil_terminal_s3_outer, coil_terminal_s1_inner, coil_terminal_s1_outer, coil_terminal_s2_inner, coil_terminal_s3_inner, coil_terminal_s4_inner, coil_terminal_s4_outer].rotate(axis=Z, angle=rotation_angle)
  Box5 = box(corner=(-r_outer, 0mm, 0mm), size=(2*r_outer, -primer_box, conductor_height-ferrite_height-(conductor_height*conductor_height*conductor_number_p)/primer_box)) in ferrite
  Box5_1 = Box5.duplicate_mirror(point=(0mm, 0mm, 0mm), normal=(0mm, 1mm, 0mm))
  primer_1_ferrite.unite(Box5)
  primer_2_ferrite.unite(Box5_1)
  middle_core [ferrite] = box(corner=(-120mm, -0.4mm, 0mm), size=(240mm, 0.8mm, -20mm))
  [primer_1, coil_terminal_p1_outer, coil_terminal_p1_inner, primer_1_ferrite].rotate(axis=X, angle=slope_primer)
  [primer_2, primer_2_ferrite, coil_terminal_p2_inner, coil_terminal_p2_outer].rotate(axis=X, angle=-slope_primer)
  Circle1 [non-model] = circle(normal=Z, centre=(0mm, 0mm, 16mm), radius=140mm) in primer
  Cylinder8 = cylinder(axis=Z, base_centre=(0mm, 0mm, 0mm), radius=r_inner, height=-ferrite_height)
  Cylinder8_1 = Cylinder8.copy()
  primer_1_ferrite.subtract(Cylinder8_1)
  primer_2_ferrite.subtract(Cylinder8)
  Cylinder9 = cylinder(axis=Z, base_centre=(0mm, 0mm, air_gap+8mm), radius=r_inner, height=-5mm)
  Cylinder9_1 = Cylinder9.copy()
  primer_1_ferrite_1.subtract(Cylinder9_1)
  primer_2_ferrite_1.subtract(Cylinder9)
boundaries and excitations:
  Insulating1: Insulating Objects=[primer_1, primer_2]
  Current_1: Current Objects=coil_terminal_p1_outer Current=primer_current IsSolid=false Point_out_of_terminal=false
  Current_2: Current Objects=coil_terminal_p2_outer Current=primer_current IsSolid=false Point_out_of_terminal=true
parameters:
  inductance_matrix: Matrix Current_1, Current_2: NumberOfTurns=conductor_number_p
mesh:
  Length1: LengthBased Objects=[primer_1_ferrite, primer_1, coil_terminal_p1_outer, coil_terminal_p1_inner, primer_2, primer_2_ferrite, coil_terminal_p2_inner, coil_terminal_p2_outer, primer_2_ferrite_1, primer_1_ferrite_1, coil_terminal_s1_inner, coil_terminal_s1_outer, coil_terminal_s2_inner, coil_terminal_s3_inner, coil_terminal_s4_inner, coil_terminal_s2_outer, coil_terminal_s3_outer, coil_terminal_s4_outer, middle_core] MaxLength=5mm
  initial mesh: GlobalCurvilinear{Apply}
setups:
  Setup1: Magnetostatic MaximumPasses=10 MinimumPasses=2 MinimumConvergedPasses=1 PercentRefinement=30 PercentError=1 NonLinearResidual=0.001
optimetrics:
  ParametricSetup1: Parametric Sim._Setups=[Setup1]
    sweep rotation_angle: LIN 0deg 90deg 10deg
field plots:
  Mag_B1, Mag_B2: B over a plane on Setup1 : LastAdaptive

design Maxwell3DDesign8 (Maxwell 3D, Magnetostatic, model units mm)
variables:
  ferrite_distance = distance_primer+3mm
  r_outer = 140mm
  ferrite_height = -0.5mm
  ferrite_gap = 2mm
  r_inner = 40mm
  conductor_height = 2mm
  conductor_number_primer = 10mm
  conductor_number_p = 16-6
  distance_primer = 2mm
  primer_box = 2mm
  fer2fer_distance = air_gap+5.5mm
  air_gap = 30mm
  conductor_number_s = 20
  distance_seconder = 5mm
  primer = 10A
  seconder_current = 5A
  primer_current = 10
  rotation_angle = 0deg
  slope_primer = 0deg
  a = 2^((primer_box/5mm )-1) mm
  ferrite_tail = 20mm
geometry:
  coordinate_system ferrite = origin=(0mm, -ferrite_distance, 0mm) x=(1mm, 0mm, 0mm) y=(0mm, 1mm, 0mm)
  primer_1_ferrite [ferrite] = cylinder(axis=Z, base_centre=(0mm, 0mm, 0mm), radius=r_outer, height=-ferrite_height)
  primer_1_ferrite.split(plane=ZX, keep=NegativeOnly)
  primer_1_ferrite.split(plane=ZX, keep=NegativeOnly) in ferrite
  coordinate_system primer = origin=(0mm, 0mm, ferrite_gap) x=(1mm, 0mm, 0mm) y=(0mm, 1mm, 0mm)
  Cylinder1 = cylinder(axis=Z, base_centre=(0mm, 0mm, 0mm), radius=r_inner, height=conductor_height) in primer
  Cylinder2 = cylinder(axis=Z, base_centre=(0mm, 0mm, 0mm), radius=r_inner+(conductor_height*conductor_number_p), height=conductor_height) in primer
  Cylinder3 = cylinder(axis=Z, base_centre=(0mm, 0mm, 0mm), radius=r_outer- (conductor_height*conductor_number_p), height=conductor_height) in primer
  primer_1 [copper] = cylinder(axis=Z, base_centre=(0mm, 0mm, 0mm), radius=r_outer, height=conductor_height) in primer
  primer_1.subtract(Cylinder3)
  Cylinder2.subtract(Cylinder1)
  [primer_1, Cylinder2].split(plane=ZX, keep=NegativeOnly) in primer
  coordinate_system primer_edge = origin=(0mm, -distance_primer, conductor_height) x=(1mm, 0mm, 0mm) y=(0mm, 1mm, 0mm) in primer
  [primer_1, Cylinder2].split(plane=ZX, keep=NegativeOnly) in primer_edge
  Box1 = box(corner=(-r_outer, 0mm, 0mm), size=(2*r_outer, -primer_box, -(conductor_height*conductor_height*conductor_number_p/primer_box))) in primer_edge
  primer_1.unite(Cylinder2, Box1)
  Box2 = box(corner=(-r_inner+a, 0mm, 0mm), size=(2*r_inner-(2*a), -primer_box, -(conductor_height*conductor_height*conductor_number_p/primer_box))) in primer_edge
  primer_1.subtract(Box2)
  coil_terminal_p1_outer [copper] = primer_1.section(plane=YZ)
  coil_terminal_p1_inner [copper] = coil_terminal_p1_outer.separate_bodies()
  primer_2 [copper] = primer_1.duplicate_mirror(point=(0mm, 0mm, 0mm), normal=(0mm, 1mm, 0mm))
  primer_2_ferrite [ferrite] = primer_1_ferrite.duplicate_mirror(point=(0mm, 0mm, 0mm), normal=(0mm, 1mm, 0mm))
  coil_terminal_p2_inner [copper] = coil_terminal_p1_inner.duplicate_mirror(point=(0mm, 0mm, 0mm), normal=(0mm, 1mm, 0mm))
  coil_terminal_p2_outer [copper] = coil_terminal_p1_outer.duplicate_mirror(point=(0mm, 0mm, 0mm), normal=(0mm, 1mm, 0mm))
  primer_2_ferrite_1 [ferrite] = primer_2_ferrite.duplicate_along_line(step=(0mm, 0mm, fer2fer_distance), total=2)
  primer_1_ferrite_1 [ferrite] = primer_1_ferrite.duplicate_along_line(step=(0mm, 0mm, fer2fer_distance), total=2)
  coordinate_system seconder = origin=(0mm, 0mm, air_gap) x=(1mm, 0mm, 0mm) y=(0mm, 1mm, 0mm) in primer
  Cylinder4 = cylinder(axis=Z, base_centre=(0mm, 0mm, 0mm), radius=r_inner, height=conductor_height) in seconder
  Cylinder5 = cylinder(axis=Z, base_centre=(0mm, 0mm, 0mm), radius=r_inner+(conductor_height*conductor_number_s), height=conductor_height) in seconder
  Cylinder6 = cylinder(axis=Z, base_centre=(0mm, 0mm, 0mm), radius=r_outer-(conductor_height*conductor_number_s), height=conductor_height) in seconder
  Cylinder7 = cylinder(axis=Z, base_centre=(0mm, 0mm, 0mm), radius=r_outer, height=conductor_height) in seconder
  Cylinder5.subtract(Cylinder4)
  Cylinder7.subtract(Cylinder6)
  [Cylinder7, Cylinder5].split(plane=YZ, keep=NegativeOnly) in seconder
  [Cylinder7, Cylinder5].split(plane=ZX, keep=NegativeOnly) in seconder
  coordinate_system seconder_edge = origin=(-distance_seconder, -distance_seconder, conductor_height) x=(1mm, 0mm, 0mm) y=(0mm, 1mm, 0mm) in seconder
  [Cylinder7, Cylinder5].split(plane=ZX, keep=NegativeOnly) in seconder_edge
  [Cylinder7, Cylinder5].split(plane=YZ, keep=NegativeOnly) in seconder_edge
  seconder_1 = box(corner=(-r_inner+distance_seconder, 0mm, 0mm), size=(-r_outer+r_inner+distance_seconder, -conductor_height*conductor_number_s, -conductor_height)) in seconder_edge
  Box4 = box(corner=(0mm, -r_inner+distance_seconder, 0mm), size=(-conductor_height*conductor_number_s, -r_outer+r_inner+distance_seconder, -conductor_height)) in seconder_edge
  seconder_1.unite(Cylinder7, Cylinder5, Box4)
  seconder_1.rotate(axis=Z, angle=45deg) in seconder_edge
  coil_terminal_s1_inner [copper] = seconder_1.section(plane=YZ) in seconder_edge
  coil_terminal_s1_outer [copper] = coil_terminal_s1_inner.separate_bodies()
  [seconder_1, coil_terminal_s1_inner, coil_terminal_s1_outer].rotate(axis=Z, angle=-45deg) in seconder_edge
  coil_terminal_s2_inner, coil_terminal_s3_inner, coil_terminal_s4_inner [copper] = coil_terminal_s1_inner.duplicate_around_axis(axis=Z, angle=90deg, total=4)
  coil_terminal_s2_outer, coil_terminal_s3_outer, coil_terminal_s4_outer [copper] = coil_terminal_s1_outer.duplicate_around_axis(axis=Z, angle=90deg, total=4)
  Region [vacuum] = region(transverse_percentage_offset=50 on all sides)
  seconder_1.rotate(axis=Z, angle=rotation_angle)
  seconder_1.delete()
  [coil_terminal_s2_outer, coil_terminal_s3_outer, coil_terminal_s1_inner, coil_terminal_s1_outer, coil_terminal_s2_inner, coil_terminal_s3_inner, coil_terminal_s4_inner, coil_terminal_s4_outer].rotate(axis=Z, angle=rotation_angle)
  Box5 = box(corner=(-r_outer, 0mm, 0mm), size=(2*r_outer, -primer_box, conductor_height-ferrite_height-(conductor_height*conductor_height*conductor_number_p)/primer_box)) in ferrite
  Box5_1 = Box5.duplicate_mirror(point=(0mm, 0mm, 0mm), normal=(0mm, 1mm, 0mm))
  primer_1_ferrite.unite(Box5)
  primer_2_ferrite.unite(Box5_1)
  middle_core [ferrite] = box(corner=(-120mm, -0.4mm, 0mm), size=(240mm, 0.8mm, -20mm))
  [primer_1, coil_terminal_p1_outer, coil_terminal_p1_inner, primer_1_ferrite].rotate(axis=X, angle=slope_primer)
  [primer_2, primer_2_ferrite, coil_terminal_p2_inner, coil_terminal_p2_outer].rotate(axis=X, angle=-slope_primer)
  Circle1 [non-model] = circle(normal=Z, centre=(0mm, 0mm, 16mm), radius=140mm) in primer
  Cylinder8 = cylinder(axis=Z, base_centre=(0mm, 0mm, 0mm), radius=r_inner, height=-ferrite_height)
  Cylinder8_1 = Cylinder8.copy()
  primer_1_ferrite.subtract(Cylinder8_1)
  primer_2_ferrite.subtract(Cylinder8)
  Cylinder9 = cylinder(axis=Z, base_centre=(0mm, 0mm, air_gap+8mm), radius=r_inner, height=-5mm)
  Cylinder9_1 = Cylinder9.copy()
  primer_1_ferrite_1.subtract(Cylinder9_1)
  primer_2_ferrite_1.subtract(Cylinder9)
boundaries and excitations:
  Insulating1: Insulating Objects=[primer_1, primer_2]
  Current_1: Current Objects=coil_terminal_p1_outer Current=primer_current IsSolid=false Point_out_of_terminal=false
  Current_2: Current Objects=coil_terminal_p2_outer Current=primer_current IsSolid=false Point_out_of_terminal=true
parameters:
  inductance_matrix: Matrix Current_1, Current_2: NumberOfTurns=conductor_number_p
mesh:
  Length1: LengthBased Objects=[primer_1_ferrite, primer_1, coil_terminal_p1_outer, coil_terminal_p1_inner, primer_2, primer_2_ferrite, coil_terminal_p2_inner, coil_terminal_p2_outer, primer_2_ferrite_1, primer_1_ferrite_1, coil_terminal_s1_inner, coil_terminal_s1_outer, coil_terminal_s2_inner, coil_terminal_s3_inner, coil_terminal_s4_inner, coil_terminal_s2_outer, coil_terminal_s3_outer, coil_terminal_s4_outer, middle_core] MaxLength=5mm
  initial mesh: GlobalCurvilinear{Apply}
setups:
  Setup1: Magnetostatic MaximumPasses=10 MinimumPasses=2 MinimumConvergedPasses=1 PercentRefinement=30 PercentError=1 NonLinearResidual=0.001
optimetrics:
  ParametricSetup1: Parametric Sim._Setups=[Setup1]
    sweep rotation_angle: LIN 0deg 90deg 10deg
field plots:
  Mag_B1, Mag_B2: B over a plane on Setup1 : LastAdaptive
